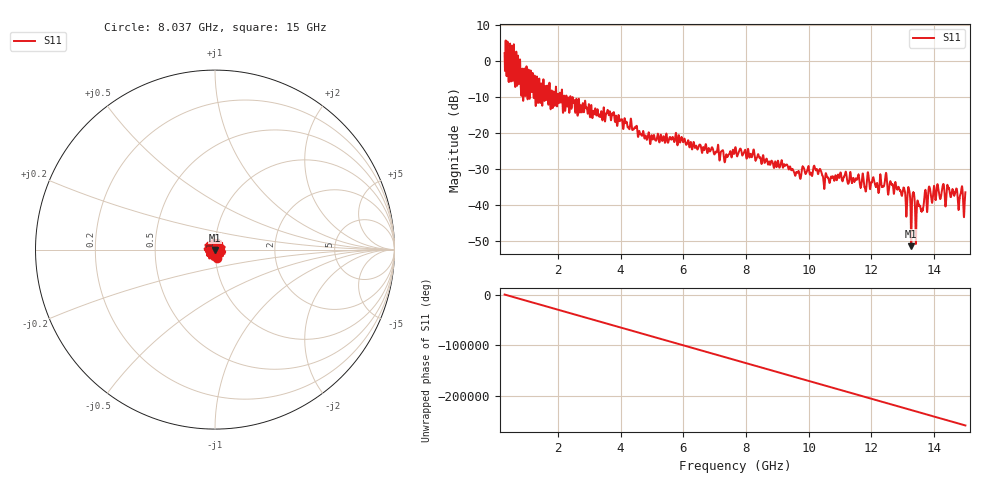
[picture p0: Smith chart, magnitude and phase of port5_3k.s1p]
# GHZ S RI R 50.0
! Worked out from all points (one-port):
!   12801 points, 300 MHz to 15 GHz, reference 50 ohm
!   lowest |S11| = -51.5 dB at 13.27 GHz (marker M1), VSWR 1.01, Z = 49.8 - j0.174 ohm
!   |S11| at or under -10 dB: 2.201 GHz to 2.262 GHz (61.01 MHz wide, 2.73 % of centre); 2.274 GHz to 2.394 GHz (120.8 MHz wide, 5.17 % of centre); 2.401 GHz to end of sweep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
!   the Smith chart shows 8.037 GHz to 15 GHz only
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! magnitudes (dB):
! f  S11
! 300 MHz  2.1
! 490.6 MHz  -2.5
! 534.3 MHz  1.8
! 690.5 MHz  -5.6
! 734.1 MHz  -0.4
! 896 MHz  -11.0
! 1.193 GHz  -3.6
! 1.303 GHz  -11.9
! 2.138 GHz  -9.8
! 3.975 GHz  -16.8
! 4.806 GHz  -21.1
! 5.812 GHz  -23.5
! 7.359 GHz  -26.3
! 7.65 GHz  -24.6
! 9.488 GHz  -30.1
! 10.21 GHz  -30.0
! 10.48 GHz  -33.6
! 11.32 GHz  -30.9
! 12.19 GHz  -34.0
! 12.44 GHz  -32.9
! 13.16 GHz  -36.1
! 13.27 GHz  -51.5
! 13.47 GHz  -39.0
! 13.52 GHz  -40.2
! 13.6 GHz  -41.8
! 13.78 GHz  -42.0
! 14.06 GHz  -38.3
! 15 GHz  -36.5
